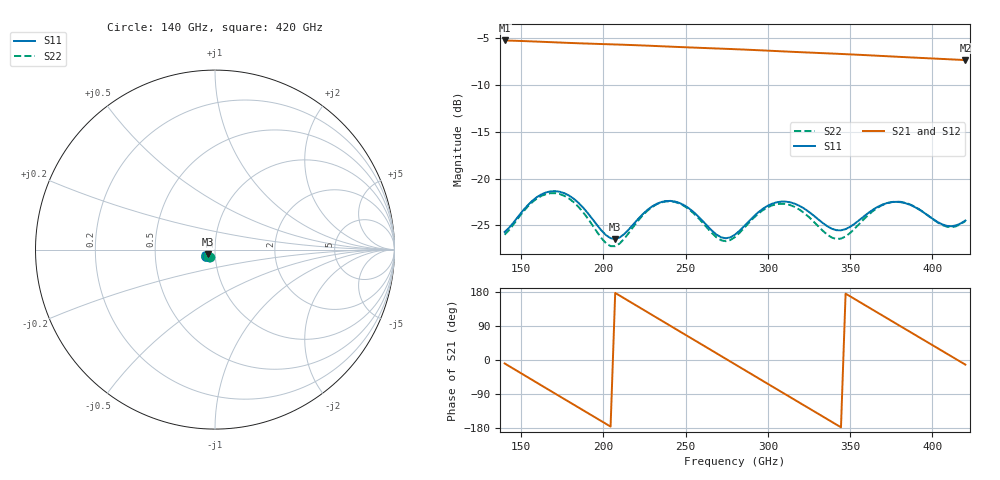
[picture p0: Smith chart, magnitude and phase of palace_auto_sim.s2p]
#  GHZ S DB R 50
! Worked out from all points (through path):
!   101 points, 140 GHz to 420 GHz, reference 50 ohm
!   highest |S21| = -5.22 dB at 140 GHz (marker M1); lowest = -7.3 dB at 420 GHz (marker M2)
!   group delay of S21, straight-line fit = 7.18 ps
!   lowest |S11| = -26.4 dB at 207.2 GHz (marker M3), VSWR 1.10, Z = 46.1 - j2.45 ohm
!   |S11| at or under -10 dB: start of sweep to end of sweep
!   |S22| runs from -27.2 to -21.5 dB; largest |S21 - S12| = 6.2e-14
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140  -25.69 -127.7  -5.22 -9.1  -5.22 -9.1  -25.98 -126.1
151.2  -23.40 -121.6  -5.29 -38.1  -5.29 -38.1  -23.55 -120.4
165.2  -21.46 -134.3  -5.39 -74.4  -5.39 -74.4  -21.64 -133.9
176.4  -21.56 -148.4  -5.47 -103.4  -5.47 -103.4  -21.84 -148.6
187.6  -23.07 -159.2  -5.54 -132.3  -5.54 -132.3  -23.56 -159.5
207.2  -26.44 -146.2  -5.65 177.0  -5.65 177.0  -27.21 -141.9
221.2  -24.29 -134.2  -5.74 140.7  -5.74 140.7  -24.47 -129.5
235.2  -22.49 -143.7  -5.84 104.4  -5.84 104.4  -22.53 -140.5
246.4  -22.60 -155.0  -5.93 75.5  -5.93 75.5  -22.66 -152.8
260.4  -24.52 -162.8  -6.02 39.3  -6.02 39.3  -24.72 -161.1
280  -25.98 -143.0  -6.16 -11.4  -6.16 -11.4  -26.24 -140.1
294  -23.61 -139.3  -6.27 -47.6  -6.27 -47.6  -23.77 -136.9
305.2  -22.53 -147.5  -6.36 -76.5  -6.36 -76.5  -22.72 -145.8
316.4  -22.68 -157.3  -6.45 -105.4  -6.45 -105.4  -23.02 -156.2
327.6  -23.91 -162.9  -6.54 -134.3  -6.54 -134.3  -24.55 -161.5
338.8  -25.35 -158.2  -6.62 -163.2  -6.62 -163.2  -26.29 -154.2
350  -25.14 -147.2  -6.71 167.9  -6.71 167.9  -25.79 -139.6
364  -23.29 -145.6  -6.83 131.8  -6.83 131.8  -23.43 -138.1
375.2  -22.50 -152.7  -6.93 102.9  -6.93 102.9  -22.49 -146.3
386.4  -22.79 -160.8  -7.03 74.1  -7.03 74.1  -22.75 -155.3
400.4  -24.32 -163.6  -7.15 38.1  -7.15 38.1  -24.35 -158.6
420  -24.47 -148.7  -7.32 -12.3  -7.32 -12.3  -24.53 -142.9
